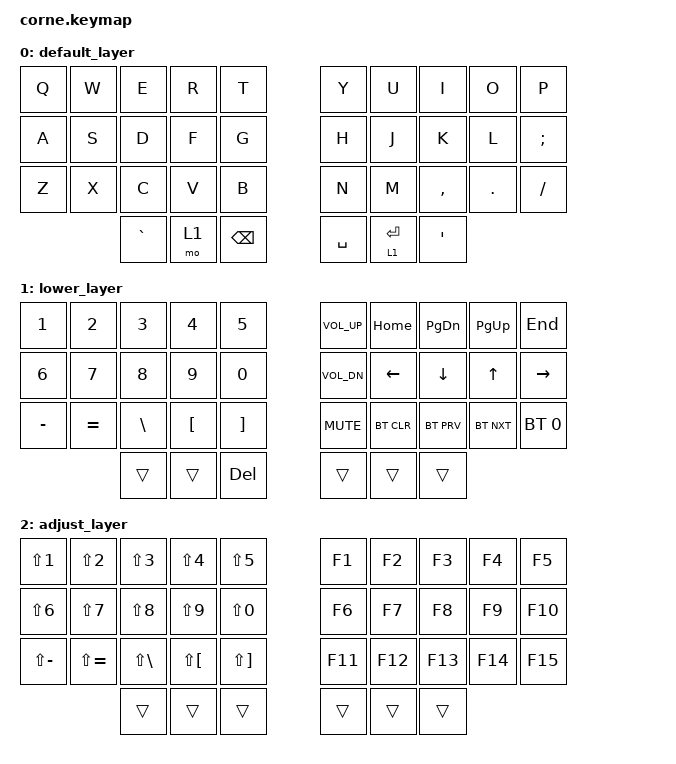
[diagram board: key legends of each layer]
/*
 * Copyright (c) 2020 The ZMK Contributors
 *
 * SPDX-License-Identifier: MIT
 */

#include <behaviors.dtsi>
#include <dt-bindings/zmk/keys.h>
#include <dt-bindings/zmk/bt.h>
#include <dt-bindings/zmk/outputs.h>

/ {

        combos {
            compatible = "zmk,combos";
            combo_tab {
                timeout-ms = <75>;
                key-positions = <10 14>;
                bindings = <&kp TAB>;
            };
            combo_esc {
                timeout-ms = <75>;
                key-positions = <0 4>;
                bindings = <&kp ESC>;
            }; 
            combo_3_l {
                timeout-ms = <75>;
                key-positions = <31 32>;
                bindings = <&sl 2>;
            };
            combo_3_r {
                timeout-ms = <75>;
                key-positions = <33 34>;
                bindings = <&sl 2>;
            };
            homerow_ctrl_l {
                timeout-ms = <75>;
                key-positions = <10 0>;
                bindings = <&sk LCTRL>;
            };
            homerow_alt_l {
                timeout-ms = <75>;
                key-positions = <11 1>;
                bindings = <&sk LALT>;
            };
            homerow_gui_l {
                timeout-ms = <75>;
                key-positions = <12 2>;
                bindings = <&sk LGUI>;
            };
            homerow_shft_l {
                timeout-ms = <75>;
                key-positions = <13 3>;
                bindings = <&sk LSHFT>;
            };
            homerow_ctrl_r {
                timeout-ms = <75>;
                key-positions = <19 9>;
                bindings = <&sk LCTRL>;
            };
            homerow_alt_r {
                timeout-ms = <75>;
                key-positions = <18 8>;
                bindings = <&sk LALT>;
            };
            homerow_gui_r {
                timeout-ms = <75>;
                key-positions = <17 7>;
                bindings = <&sk LGUI>;
            };
            homerow_shft_r {
                timeout-ms = <75>;
                key-positions = <16 6>;
                bindings = <&sk LSHFT>;
            };
    };
        behaviors {
            hm: homerow_mods {
                compatible = "zmk,behavior-hold-tap";
                label = "HOMEROW_MODS";
                #binding-cells = <2>;
                tapping-term-ms = <145>;
                quick_tap_ms = <0>;
                flavor = "tap-preferred";
                bindings = <&kp>, <&kp>;
            };
    };
        keymap {
                compatible = "zmk,keymap";

                default_layer {
                        bindings = <
    &kp Q &kp W &kp E     &kp R &kp T    &kp Y     &kp U &kp I     &kp O   &kp P 
    &kp A &kp S &kp D     &kp F &kp G    &kp H     &kp J &kp K     &kp L   &kp SEMI
    &kp Z &kp X &kp C     &kp V &kp B    &kp N     &kp M &kp COMMA &kp DOT &kp FSLH
                &kp GRAVE &mo 1 &kp BSPC &kp SPACE &lt 1 RET       &kp SQT
                        >;
                };

                lower_layer {
                        bindings = <
    &kp N1    &kp N2    &kp N3   &kp N4   &kp N5   &kp C_VOL_UP &kp HOME &kp PG_DN    &kp PG_UP  &kp END         
    &kp N6    &kp N7    &kp N8   &kp N9   &kp N0   &kp C_VOL_DN &kp LEFT &kp DOWN     &kp UP     &kp RIGHT
    &kp MINUS &kp EQUAL &kp BSLH &kp LBKT &kp RBKT &kp C_MUTE   &bt BT_CLR &bt BT_PRV &bt BT_NXT &bt 0  
                        &trans   &trans   &kp DEL  &trans       &trans     &trans
                        >;
                };

                adjust_layer {
                        bindings = <
   &kp LS(N1)    &kp LS(N2)    &kp LS(N3)   &kp LS(N4)   &kp LS(N5)   &kp F1  &kp F2  &kp F3  &kp F4  &kp F5
   &kp LS(N6)    &kp LS(N7)    &kp LS(N8)   &kp LS(N9)   &kp LS(N0)   &kp F6  &kp F7  &kp F8  &kp F9  &kp F10
   &kp LS(MINUS) &kp LS(EQUAL) &kp LS(BSLH) &kp LS(LBKT) &kp LS(RBKT) &kp F11 &kp F12 &kp F13 &kp F14 &kp F15
                               &trans       &trans       &trans       &trans  &trans  &trans
                        >;
                };
        };
};
